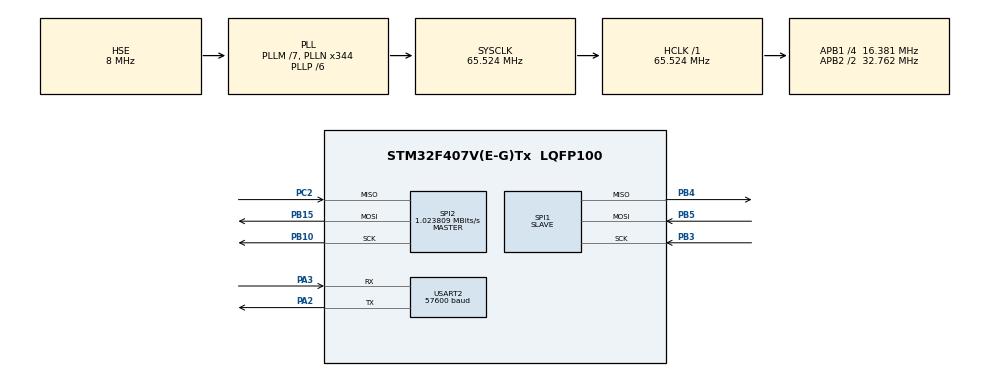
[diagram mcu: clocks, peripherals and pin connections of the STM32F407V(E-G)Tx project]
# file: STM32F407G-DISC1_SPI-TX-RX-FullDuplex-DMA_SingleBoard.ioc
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Dma.Request0=SPI2_RX
Dma.Request1=SPI2_TX
Dma.Request2=SPI1_TX
Dma.Request3=SPI1_RX
Dma.SPI1_RX.3.Direction=DMA_PERIPH_TO_MEMORY
Dma.SPI1_RX.3.FIFOMode=DMA_FIFOMODE_DISABLE
Dma.SPI1_RX.3.Instance=DMA2_Stream0
Dma.SPI1_RX.3.MemDataAlignment=DMA_MDATAALIGN_BYTE
Dma.SPI1_RX.3.MemInc=DMA_MINC_ENABLE
Dma.SPI1_RX.3.Mode=DMA_NORMAL
Dma.SPI1_RX.3.PeriphDataAlignment=DMA_PDATAALIGN_BYTE
Dma.SPI1_RX.3.PeriphInc=DMA_PINC_DISABLE
Dma.SPI1_RX.3.Priority=DMA_PRIORITY_HIGH
Dma.SPI1_TX.2.Direction=DMA_MEMORY_TO_PERIPH
Dma.SPI1_TX.2.FIFOMode=DMA_FIFOMODE_DISABLE
Dma.SPI1_TX.2.Instance=DMA2_Stream3
Dma.SPI1_TX.2.MemDataAlignment=DMA_MDATAALIGN_BYTE
Dma.SPI1_TX.2.MemInc=DMA_MINC_ENABLE
Dma.SPI1_TX.2.Mode=DMA_NORMAL
Dma.SPI1_TX.2.PeriphDataAlignment=DMA_PDATAALIGN_BYTE
Dma.SPI1_TX.2.PeriphInc=DMA_PINC_DISABLE
Dma.SPI1_TX.2.Priority=DMA_PRIORITY_LOW
Dma.SPI2_RX.0.Direction=DMA_PERIPH_TO_MEMORY
Dma.SPI2_RX.0.FIFOMode=DMA_FIFOMODE_DISABLE
Dma.SPI2_RX.0.Instance=DMA1_Stream3
Dma.SPI2_RX.0.MemDataAlignment=DMA_MDATAALIGN_BYTE
Dma.SPI2_RX.0.MemInc=DMA_MINC_ENABLE
Dma.SPI2_RX.0.Mode=DMA_NORMAL
Dma.SPI2_RX.0.PeriphDataAlignment=DMA_PDATAALIGN_BYTE
Dma.SPI2_RX.0.PeriphInc=DMA_PINC_DISABLE
Dma.SPI2_RX.0.Priority=DMA_PRIORITY_HIGH
Dma.SPI2_TX.1.Direction=DMA_MEMORY_TO_PERIPH
Dma.SPI2_TX.1.FIFOMode=DMA_FIFOMODE_DISABLE
Dma.SPI2_TX.1.Instance=DMA1_Stream4
Dma.SPI2_TX.1.MemDataAlignment=DMA_MDATAALIGN_BYTE
Dma.SPI2_TX.1.MemInc=DMA_MINC_ENABLE
Dma.SPI2_TX.1.Mode=DMA_NORMAL
Dma.SPI2_TX.1.PeriphDataAlignment=DMA_PDATAALIGN_BYTE
Dma.SPI2_TX.1.PeriphInc=DMA_PINC_DISABLE
Dma.SPI2_TX.1.Priority=DMA_PRIORITY_LOW
Mcu.Family=STM32F4
Mcu.Name=STM32F407V(E-G)Tx
Mcu.Package=LQFP100
NVIC.DMA1_Stream3_IRQn=true\:0\:0\:false\:false\:true\:false\:true\:true
NVIC.DMA1_Stream4_IRQn=true\:0\:0\:false\:false\:true\:false\:true\:true
NVIC.DMA2_Stream0_IRQn=true\:0\:0\:false\:false\:true\:false\:true\:true
NVIC.DMA2_Stream3_IRQn=true\:0\:0\:false\:false\:true\:false\:true\:true
NVIC.PriorityGroup=NVIC_PRIORITYGROUP_0
PA13.Mode=Serial_Wire
PA13.Signal=SYS_JTMS-SWDIO
PA14.Mode=Serial_Wire
PA14.Signal=SYS_JTCK-SWCLK
PA2.Mode=Asynchronous
PA2.Signal=USART2_TX
PA3.Mode=Asynchronous
PA3.Signal=USART2_RX
PB10.GPIO_Speed=GPIO_SPEED_FREQ_LOW
PB10.Mode=Full_Duplex_Master
PB10.Signal=SPI2_SCK
PB15.GPIO_Speed=GPIO_SPEED_FREQ_LOW
PB15.Mode=Full_Duplex_Master
PB15.Signal=SPI2_MOSI
PB3.GPIO_Speed=GPIO_SPEED_FREQ_LOW
PB3.Mode=Full_Duplex_Slave
PB3.Signal=SPI1_SCK
PB4.GPIO_Speed=GPIO_SPEED_FREQ_LOW
PB4.Mode=Full_Duplex_Slave
PB4.Signal=SPI1_MISO
PB5.GPIO_Speed=GPIO_SPEED_FREQ_LOW
PB5.Mode=Full_Duplex_Slave
PB5.Signal=SPI1_MOSI
PC2.GPIO_Speed=GPIO_SPEED_FREQ_LOW
PC2.Mode=Full_Duplex_Master
PC2.Signal=SPI2_MISO
PH0-OSC_IN.Mode=HSE-External-Oscillator
PH0-OSC_IN.Signal=RCC_OSC_IN
PH1-OSC_OUT.Mode=HSE-External-Oscillator
PH1-OSC_OUT.Signal=RCC_OSC_OUT
ProjectManager.HeapSize=0x200
ProjectManager.StackSize=0x400
ProjectManager.TargetToolchain=STM32CubeIDE
RCC.48MHZClocksFreq_Value=56163265.30612246
RCC.AHBFreq_Value=65523809.52380953
RCC.APB1CLKDivider=RCC_HCLK_DIV4
RCC.APB1Freq_Value=16380952.380952382
RCC.APB1TimFreq_Value=32761904.761904765
RCC.APB2CLKDivider=RCC_HCLK_DIV2
RCC.APB2Freq_Value=32761904.761904765
RCC.APB2TimFreq_Value=65523809.52380953
RCC.CortexFreq_Value=65523809.52380953
RCC.HCLKFreq_Value=65523809.52380953
RCC.HSE_VALUE=8000000
RCC.HSI_VALUE=16000000
RCC.LSE_VALUE=32768
RCC.PLLM=7
RCC.PLLN=344
RCC.PLLP=RCC_PLLP_DIV6
RCC.PLLQ=7
RCC.PLLSourceVirtual=RCC_PLLSOURCE_HSE
RCC.SYSCLKFreq_VALUE=65523809.52380953
RCC.SYSCLKSource=RCC_SYSCLKSOURCE_PLLCLK
RCC.VCOOutputFreq_Value=393142857.1428572
SPI1.Direction=SPI_DIRECTION_2LINES
SPI1.Mode=SPI_MODE_SLAVE
SPI1.VirtualType=VM_SLAVE
SPI2.BaudRatePrescaler=SPI_BAUDRATEPRESCALER_16
SPI2.CalculateBaudRate=1.023809 MBits/s
SPI2.Direction=SPI_DIRECTION_2LINES
SPI2.Mode=SPI_MODE_MASTER
SPI2.VirtualType=VM_MASTER
USART2.BaudRate=57600
USART2.VirtualMode=VM_ASYNC
board=STM32F407G-DISC1

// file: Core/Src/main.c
/* USER CODE BEGIN Header */
/**
 ******************************************************************************
 * @file           : main.c
 * @brief          : Main program body
 ******************************************************************************
 * @attention
 *
 * <h2><center>&copy; Copyright (c) 2021 STMicroelectronics.
 * All rights reserved.</center></h2>
 *
 * This software component is licensed by ST under Ultimate Liberty license
 * SLA0044, the "License"; You may not use this file except in compliance with
 * the License. You may obtain a copy of the License at:
 *                             www.st.com/SLA0044
 *
 ******************************************************************************
 */
/* USER CODE END Header */
#include "main.h"

/* USER CODE BEGIN Includes */

#include <stdio.h>

/* USER CODE END Includes */

/* USER CODE BEGIN PD */

#define numdata  300

/* USER CODE END PD */

 SPI_HandleTypeDef hspi1;
SPI_HandleTypeDef hspi2;
DMA_HandleTypeDef hdma_spi1_tx;
DMA_HandleTypeDef hdma_spi1_rx;
DMA_HandleTypeDef hdma_spi2_rx;
DMA_HandleTypeDef hdma_spi2_tx;

UART_HandleTypeDef huart2;

/* USER CODE BEGIN PV */

uint8_t send_data2[numdata], errorcode, have_error;
uint8_t receive_data2[numdata];

uint8_t send_data1[numdata];
uint8_t receive_data1[numdata];

/* USER CODE END PV */

void SystemClock_Config(void);
static void MX_GPIO_Init(void);
static void MX_USART2_UART_Init(void);
static void MX_DMA_Init(void);
static void MX_SPI2_Init(void);
static void MX_SPI1_Init(void);
/* USER CODE BEGIN PFP */

#define PUTCHAR_PROTOTYPE int __io_putchar(int ch)

/* USER CODE END PFP */

int main(void)
{

  /* MCU Configuration--------------------------------------------------------*/

  /* Reset of all peripherals, Initializes the Flash interface and the Systick. */
  HAL_Init();

  /* Configure the system clock */
  SystemClock_Config();

  /* Initialize all configured peripherals */
  MX_GPIO_Init();
  MX_USART2_UART_Init();
  MX_DMA_Init();
  MX_SPI2_Init();
  MX_SPI1_Init();
  /* USER CODE BEGIN 2 */

	printf("Starting >> STM32F407G-DISC1_SPI-TX-RX-FullDuplex-DMA_SingleBoard \n");
	printf("before HAL_SPI_TransmitReceive_DMA \n");

	for(uint16_t cntr = 0; cntr < numdata; cntr++)
		send_data2[cntr] = cntr;

	for(uint16_t cntr = 0; cntr < numdata; cntr++)
		send_data1[cntr] = cntr;

	printf("send_data1 Buffer \n");
	for(uint16_t cntr = 0; cntr < numdata; cntr++)
		printf("%d = %d \n", cntr, send_data1[cntr]);

	printf("send_data2 Buffer \n");
	for(uint16_t cntr = 0; cntr < numdata; cntr++)
		printf("%d = %d \n", cntr, send_data2[cntr]);

	printf("receive_data1 Buffer \n");
	for(uint16_t cntr = 0; cntr < numdata; cntr++)
		printf("%d = %d \n", cntr, receive_data1[cntr]);

	printf("receive_data2 Buffer \n");
	for(uint16_t cntr = 0; cntr < numdata; cntr++)
		printf("%d = %d \n", cntr, receive_data2[cntr]);

	//	HAL_SPI_Receive_DMA(&hspi2, receive_data, 5);

	HAL_SPI_TransmitReceive_DMA(&hspi1, send_data1, receive_data1, numdata);
	HAL_SPI_TransmitReceive_DMA(&hspi2, send_data2, receive_data2, numdata);

	//	HAL_SPI_Transmit_DMA(&hspi2, receive_data, 5);

	printf("after HAL_SPI_TransmitReceive_DMA \n");

	for(uint16_t cntr = 0; cntr < numdata; cntr++)
	{
		if (!(send_data1[cntr] == receive_data1[cntr]))
			have_error = 1;
	}
	if (have_error == 1)
	{
		errorcode = 1;
		have_error = 0;
	}

	for(uint16_t cntr = 0; cntr < numdata; cntr++)
	{
		if (!(send_data2[cntr] == receive_data2[cntr]))
			have_error = 1;
	}
	if (have_error == 1)
	{
		errorcode = errorcode + 2;
		have_error = 1;
	}

	printf("receive_data1 Buffer \n");
	for(uint16_t cntr = 0; cntr < numdata; cntr++)
		printf("%d = %d \n", cntr, receive_data1[cntr]);

	printf("receive_data2 Buffer \n");
	for(uint16_t cntr = 0; cntr < numdata; cntr++)
		printf("%d = %d \n", cntr, receive_data2[cntr]);

	HAL_Delay(100);

	printf("errorcode = %d \n", errorcode);
	printf("Ending >> STM32F407G-DISC1_SPI-TX-RX-FullDuplex-DMA_SingleBoard \n");

  /* USER CODE END 2 */

  /* Infinite loop */
	while (1)
	{

	}
}

void SystemClock_Config(void)
{
  RCC_OscInitTypeDef RCC_OscInitStruct = {0};
  RCC_ClkInitTypeDef RCC_ClkInitStruct = {0};

  /** Configure the main internal regulator output voltage
  */
  __HAL_RCC_PWR_CLK_ENABLE();
  __HAL_PWR_VOLTAGESCALING_CONFIG(PWR_REGULATOR_VOLTAGE_SCALE1);

  /** Initializes the RCC Oscillators according to the specified parameters
  * in the RCC_OscInitTypeDef structure.
  */
  RCC_OscInitStruct.OscillatorType = RCC_OSCILLATORTYPE_HSE;
  RCC_OscInitStruct.HSEState = RCC_HSE_ON;
  RCC_OscInitStruct.PLL.PLLState = RCC_PLL_ON;
  RCC_OscInitStruct.PLL.PLLSource = RCC_PLLSOURCE_HSE;
  RCC_OscInitStruct.PLL.PLLM = 7;
  RCC_OscInitStruct.PLL.PLLN = 344;
  RCC_OscInitStruct.PLL.PLLP = RCC_PLLP_DIV6;
  RCC_OscInitStruct.PLL.PLLQ = 7;
  if (HAL_RCC_OscConfig(&RCC_OscInitStruct) != HAL_OK)
  {
    Error_Handler();
  }

  /** Initializes the CPU, AHB and APB buses clocks
  */
  RCC_ClkInitStruct.ClockType = RCC_CLOCKTYPE_HCLK|RCC_CLOCKTYPE_SYSCLK
                              |RCC_CLOCKTYPE_PCLK1|RCC_CLOCKTYPE_PCLK2;
  RCC_ClkInitStruct.SYSCLKSource = RCC_SYSCLKSOURCE_PLLCLK;
  RCC_ClkInitStruct.AHBCLKDivider = RCC_SYSCLK_DIV1;
  RCC_ClkInitStruct.APB1CLKDivider = RCC_HCLK_DIV4;
  RCC_ClkInitStruct.APB2CLKDivider = RCC_HCLK_DIV2;

  if (HAL_RCC_ClockConfig(&RCC_ClkInitStruct, FLASH_LATENCY_2) != HAL_OK)
  {
    Error_Handler();
  }
}

static void MX_SPI1_Init(void)
{

  /* SPI1 parameter configuration*/
  hspi1.Instance = SPI1;
  hspi1.Init.Mode = SPI_MODE_SLAVE;
  hspi1.Init.Direction = SPI_DIRECTION_2LINES;
  hspi1.Init.DataSize = SPI_DATASIZE_8BIT;
  hspi1.Init.CLKPolarity = SPI_POLARITY_LOW;
  hspi1.Init.CLKPhase = SPI_PHASE_1EDGE;
  hspi1.Init.NSS = SPI_NSS_SOFT;
  hspi1.Init.FirstBit = SPI_FIRSTBIT_MSB;
  hspi1.Init.TIMode = SPI_TIMODE_DISABLE;
  hspi1.Init.CRCCalculation = SPI_CRCCALCULATION_DISABLE;
  hspi1.Init.CRCPolynomial = 10;
  if (HAL_SPI_Init(&hspi1) != HAL_OK)
  {
    Error_Handler();
  }

}

static void MX_SPI2_Init(void)
{

  /* SPI2 parameter configuration*/
  hspi2.Instance = SPI2;
  hspi2.Init.Mode = SPI_MODE_MASTER;
  hspi2.Init.Direction = SPI_DIRECTION_2LINES;
  hspi2.Init.DataSize = SPI_DATASIZE_8BIT;
  hspi2.Init.CLKPolarity = SPI_POLARITY_LOW;
  hspi2.Init.CLKPhase = SPI_PHASE_1EDGE;
  hspi2.Init.NSS = SPI_NSS_SOFT;
  hspi2.Init.BaudRatePrescaler = SPI_BAUDRATEPRESCALER_16;
  hspi2.Init.FirstBit = SPI_FIRSTBIT_MSB;
  hspi2.Init.TIMode = SPI_TIMODE_DISABLE;
  hspi2.Init.CRCCalculation = SPI_CRCCALCULATION_DISABLE;
  hspi2.Init.CRCPolynomial = 10;
  if (HAL_SPI_Init(&hspi2) != HAL_OK)
  {
    Error_Handler();
  }

}

static void MX_USART2_UART_Init(void)
{

  huart2.Instance = USART2;
  huart2.Init.BaudRate = 57600;
  huart2.Init.WordLength = UART_WORDLENGTH_8B;
  huart2.Init.StopBits = UART_STOPBITS_1;
  huart2.Init.Parity = UART_PARITY_NONE;
  huart2.Init.Mode = UART_MODE_TX_RX;
  huart2.Init.HwFlowCtl = UART_HWCONTROL_NONE;
  huart2.Init.OverSampling = UART_OVERSAMPLING_16;
  if (HAL_UART_Init(&huart2) != HAL_OK)
  {
    Error_Handler();
  }

}

static void MX_DMA_Init(void)
{

  /* DMA controller clock enable */
  __HAL_RCC_DMA1_CLK_ENABLE();
  __HAL_RCC_DMA2_CLK_ENABLE();

  /* DMA interrupt init */
  /* DMA1_Stream3_IRQn interrupt configuration */
  HAL_NVIC_SetPriority(DMA1_Stream3_IRQn, 0, 0);
  HAL_NVIC_EnableIRQ(DMA1_Stream3_IRQn);
  /* DMA1_Stream4_IRQn interrupt configuration */
  HAL_NVIC_SetPriority(DMA1_Stream4_IRQn, 0, 0);
  HAL_NVIC_EnableIRQ(DMA1_Stream4_IRQn);
  /* DMA2_Stream0_IRQn interrupt configuration */
  HAL_NVIC_SetPriority(DMA2_Stream0_IRQn, 0, 0);
  HAL_NVIC_EnableIRQ(DMA2_Stream0_IRQn);
  /* DMA2_Stream3_IRQn interrupt configuration */
  HAL_NVIC_SetPriority(DMA2_Stream3_IRQn, 0, 0);
  HAL_NVIC_EnableIRQ(DMA2_Stream3_IRQn);

}

static void MX_GPIO_Init(void)
{

  /* GPIO Ports Clock Enable */
  __HAL_RCC_GPIOH_CLK_ENABLE();
  __HAL_RCC_GPIOC_CLK_ENABLE();
  __HAL_RCC_GPIOA_CLK_ENABLE();
  __HAL_RCC_GPIOB_CLK_ENABLE();

}

/* USER CODE BEGIN 4 */

PUTCHAR_PROTOTYPE
{
	/* Place your implementation of fputc here */
	/* e.g. write a character to the LPUART1 and Loop until the end of transmission */
	HAL_UART_Transmit(&huart2, (uint8_t *)&ch, 1, 0xFFFF);

	return ch;
}

//void HAL_SPI_RxCpltCallback(SPI_HandleTypeDef *hspi)
//{
//	UNUSED(hspi);
//
//	printf("HAL_SPI_RxCpltCallback \n");
//}
//
//void HAL_SPI_RxHalfCpltCallback(SPI_HandleTypeDef *hspi)
//{
//	UNUSED(hspi);
//
//	printf("HAL_SPI_RxHalfCpltCallback \n");
//}
//
//void HAL_SPI_TxCpltCallback(SPI_HandleTypeDef *hspi)
//{
//	UNUSED(hspi);
//
//	printf("HAL_SPI_TxCpltCallback \n");
//}
//
//void HAL_SPI_TxHalfCpltCallback(SPI_HandleTypeDef *hspi)
//{
//	UNUSED(hspi);
//
//	printf("HAL_SPI_TxHalfCpltCallback \n");
//}
//
//void HAL_SPI_TxRxCpltCallback(SPI_HandleTypeDef *hspi)
//{
//	UNUSED(hspi);
//
//	printf("HAL_SPI_TxRxCpltCallback \n");
//}
//
//void HAL_SPI_TxRxHalfCpltCallback(SPI_HandleTypeDef *hspi)
//{
//	UNUSED(hspi);
//
//	printf("HAL_SPI_TxRxHalfCpltCallback \n");
//}
//
//void HAL_SPI_ErrorCallback(SPI_HandleTypeDef *hspi)
//{
//	UNUSED(hspi);
//
//	printf("HAL_SPI_ErrorCallback : Error code %d \n", hspi->ErrorCode);
//
//}

/* USER CODE END 4 */

void Error_Handler(void)
{
  /* USER CODE BEGIN Error_Handler_Debug */
	/* User can add his own implementation to report the HAL error return state */
	printf("Error_Handler \n");
	__disable_irq();
	while (1)
	{
	}
  /* USER CODE END Error_Handler_Debug */
}
